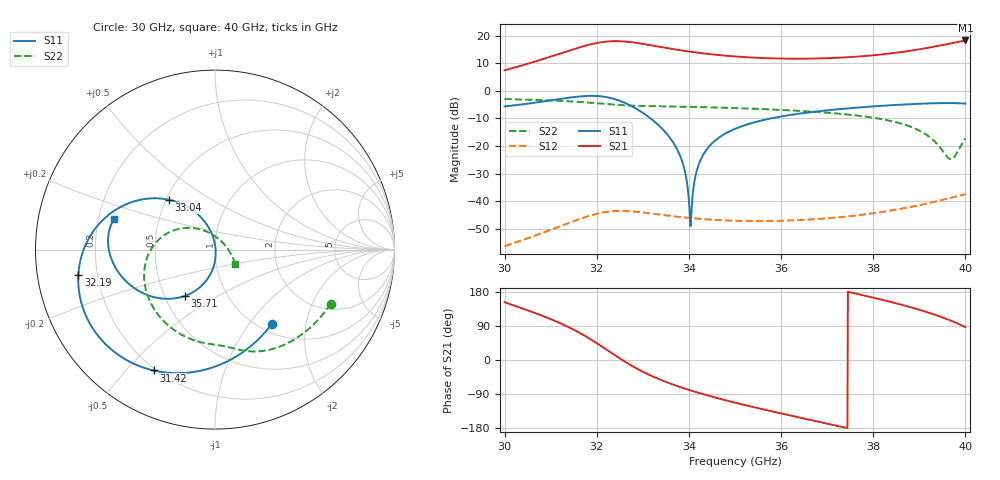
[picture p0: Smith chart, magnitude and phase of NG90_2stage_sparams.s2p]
! Created Tue Feb 25 10:59:04 2025
# hz S ma R 50
! 2 Port Network Data from SP1.SP block
! freq  magS11  angS11  magS21  angS21  magS12  angS12  magS22  angS22
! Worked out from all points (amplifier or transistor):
!   1001 points, 30 GHz to 40 GHz, reference 50 ohm
!   highest |S21| = 18.3 dB at 40 GHz (marker M1)
!   |S21| within 3 dB of that: 31.53 GHz to 33.61 GHz (2.077 GHz wide, 6.38 % of centre)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
!   unconditionally stable (mu >= 1): start of sweep to end of sweep
!   at 31.66 GHz: K = 4.08, MAG = 22.1 dB, |S12| = -46.3 dB
!   at 35 GHz: K = 19.80, MAG = 13.8 dB, |S12| = -47.1 dB
!   at 40 GHz: K = 2.94, MAG = 20.3 dB, |S12| = -37.5 dB
!   S11 on the Smith chart (normalised r, x): 30 GHz: 1.14, -1.30; 31.42 GHz: 0.19, -0.60; 32.19 GHz: 0.13, -0.09; 33.04 GHz: 0.52, +0.34; 35.71 GHz: 0.63, -0.36; 40 GHz: 0.27, +0.14
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3e10  0.5212 -52.7  2.353 152.4  0.00152 36.7  0.7115 -25.0
3.084e10  0.6416 -87.5  3.783 115.7  0.002682 2.9  0.6767 -44.3
3.142e10  0.7554 -116.9  5.429 84.8  0.004085 -26.3  0.6441 -58.4
3.167e10  0.7955 -132.2  6.298 68.7  0.004859 -41.7  0.6252 -64.5
3.194e10  0.8093 -150.8  7.2 49.0  0.005704 -60.7  0.6006 -70.7
3.219e10  0.7741 -169.5  7.789 29.1  0.006321 -79.9  0.5763 -75.9
3.238e10  0.7116 176.0  7.962 13.7  0.006579 -94.9  0.5597 -79.3
3.256e10  0.6298 162.8  7.89 -0.5  0.006632 -108.6  0.5474 -82.3
3.281e10  0.4985 146.1  7.507 -18.6  0.006459 -126.1  0.5362 -86.4
3.304e10  0.3781 132.7  7.009 -33.4  0.006159 -140.3  0.5302 -90.2
3.334e10  0.2382 118.0  6.336 -49.9  0.005722 -156.2  0.5248 -95.7
3.381e10  0.06573 98.1  5.448 -71.4  0.005133 -176.5  0.5167 -104.7
3.404e10  0.003556 -19.8  5.106 -80.4  0.004911 175.0  0.512 -109.2
3.431e10  0.06922 -91.1  4.776 -90.2  0.004705 165.8  0.5058 -114.6
3.5e10  0.2042 -108.9  4.202 -112.5  0.004399 145.2  0.4866 -128.1
3.571e10  0.3069 -122.9  3.903 -133.0  0.004348 126.4  0.4622 -141.8
3.667e10  0.4123 -139.0  3.842 -159.0  0.004655 102.7  0.4194 -160.3
3.834e10  0.5446 -164.7  4.729 154.5  0.006638 60.6  0.2888 163.0
3.889e10  0.5768 -173.9  5.472 136.5  0.008063 44.2  0.21 145.1
3.932e10  0.5947 178.0  6.321 120.2  0.009676 29.1  0.1238 120.4
3.966e10  0.5993 170.9  7.192 105.0  0.01135 15.0  0.05816 54.2
4e10  0.5868 162.9  8.195 86.9  0.01333 -2.1  0.1375 -35.3
